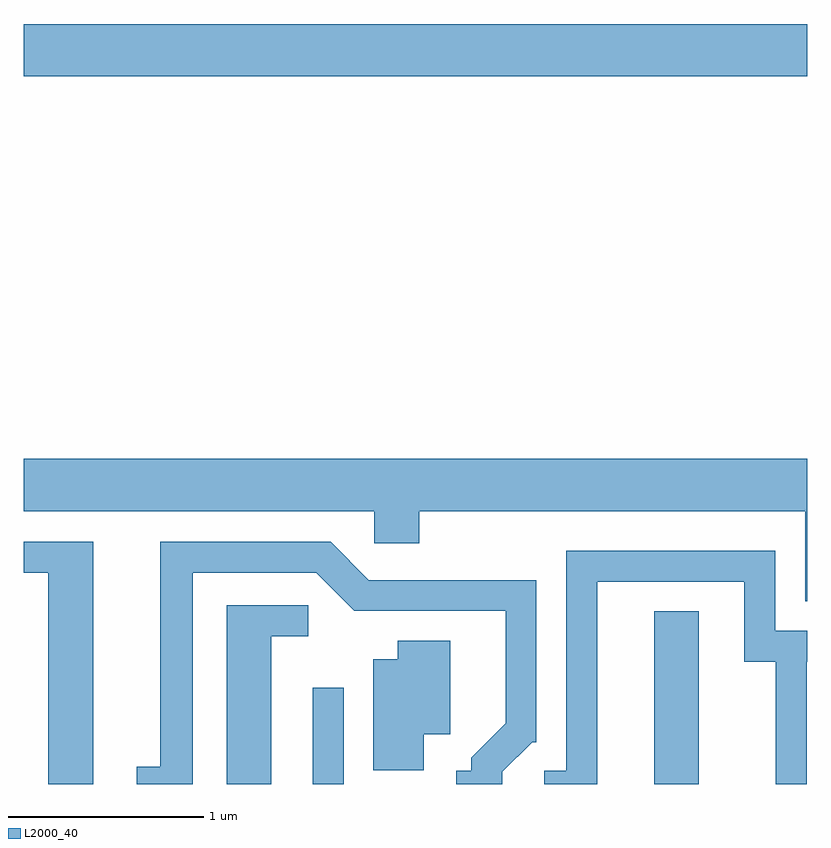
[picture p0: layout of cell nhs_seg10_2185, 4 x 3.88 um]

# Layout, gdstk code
import gdstk
lib = gdstk.Library(unit=1e-6, precision=1e-09)
def R(c, l, rs):  # rectangles x0, y0, x1, y1
    for r in rs: c.add(gdstk.rectangle(r[:2], r[2:], *l))
def P(c, l, *ps):  # polygons
    for p in ps: c.add(gdstk.Polygon(p, *l))
L2000_40 = (2000, 40)

nhs_seg10_2185 = lib.new_cell('nhs_seg10_2185')
R(nhs_seg10_2185, L2000_40, [(251.086,2112.522,251.244,2113.013), (252.831,2112.522,253.059,2113.404), (249.611,2116.136,253.611,2116.404)])
P(nhs_seg10_2185, L2000_40, [(253.611,2114.184),(249.611,2114.184),(249.611,2113.916),(251.401,2113.916),(251.401,2113.751),(251.629,2113.751),(251.629,2113.916),(253.601,2113.916),(253.601,2113.456),(253.611,2113.456)],
  [(250.474,2113.601),(251.104,2113.601),(251.299,2113.406),(252.071,2113.406),(252.071,2112.832),(251.896,2112.657),(251.896,2112.589),(251.818,2112.589),(251.818,2112.522),(252.054,2112.522),(252.054,2112.584),(252.207,2112.736),(252.229,2112.736),(252.229,2113.564),(251.372,2113.564),(251.177,2113.759),(250.306,2113.759),(250.306,2112.609),(250.188,2112.609),(250.188,2112.522),(250.474,2112.522)],
  [(249.964,2113.759),(249.611,2113.759),(249.611,2113.601),(249.736,2113.601),(249.736,2112.522),(249.964,2112.522)],
  [(252.539,2113.556),(253.291,2113.556),(253.291,2113.146),(253.451,2113.146),(253.451,2112.522),(253.609,2112.522),(253.609,2113.146),(253.611,2113.146),(253.611,2113.304),(253.449,2113.304),(253.449,2113.714),(252.381,2113.714),(252.381,2112.589),(252.268,2112.589),(252.268,2112.522),(252.539,2112.522)],
  [(250.874,2113.276),(251.063,2113.276),(251.063,2113.434),(250.646,2113.434),(250.646,2112.522),(250.874,2112.522)],
  [(251.654,2112.776),(251.789,2112.776),(251.789,2113.254),(251.521,2113.254),(251.521,2113.159),(251.396,2113.159),(251.396,2112.591),(251.654,2112.591)])

lib.write_gds('nhs_seg10_2185.gds')
